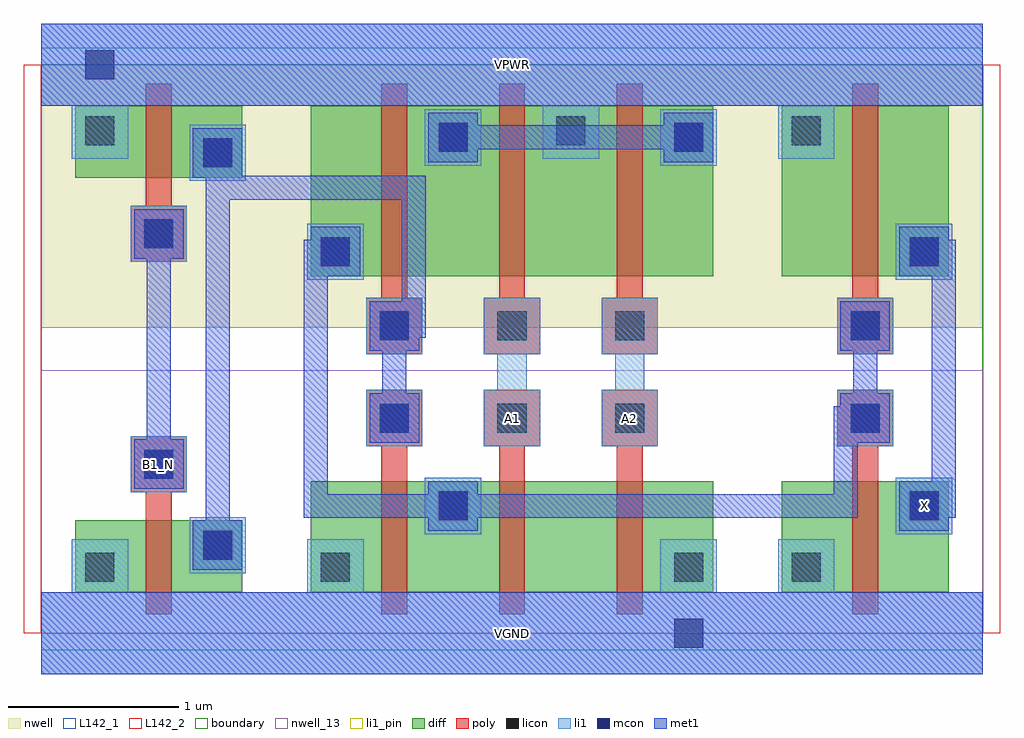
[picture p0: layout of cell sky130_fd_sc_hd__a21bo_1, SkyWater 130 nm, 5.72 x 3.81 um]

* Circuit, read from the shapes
.subckt sky130_fd_sc_hd__a21bo_1 A1 A2 B1_N VGND VPWR X
XM1 n1 B1_N VGND VSUBS sky130_fd_pr__nfet_01v8 w=0.42 l=0.15
XM2 n2 n1 VGND VSUBS sky130_fd_pr__nfet_01v8 w=0.65 l=0.15
XM3 n3 A1 n2 VSUBS sky130_fd_pr__nfet_01v8 w=0.65 l=0.15
XM4 VGND A2 n3 VSUBS sky130_fd_pr__nfet_01v8 w=0.65 l=0.15
XM5 X n2 VGND VSUBS sky130_fd_pr__nfet_01v8 w=0.65 l=0.15
XM6 n1 B1_N VPWR n4 sky130_fd_pr__pfet_01v8 w=0.42 l=0.15
XM7 n5 n1 n2 n4 sky130_fd_pr__pfet_01v8 w=1 l=0.15
XM8 VPWR A1 n5 n4 sky130_fd_pr__pfet_01v8 w=1 l=0.15
XM9 n5 A2 VPWR n4 sky130_fd_pr__pfet_01v8 w=1 l=0.15
XM10 X n2 VPWR n4 sky130_fd_pr__pfet_01v8 w=1 l=0.15
.ends

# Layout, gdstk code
import gdstk
lib = gdstk.Library(unit=1e-6, precision=1e-09)
def R(c, l, rs):  # rectangles x0, y0, x1, y1
    for r in rs: c.add(gdstk.rectangle(r[:2], r[2:], *l))
def A(c, l, x, y, w, h, nx, ny, dx, dy):  # array of equal rectangles
    R(c, l, [(x+i*dx, y+j*dy, x+i*dx+w, y+j*dy+h) for i in range(nx) for j in range(ny)])
def P(c, l, *ps):  # polygons
    for p in ps: c.add(gdstk.Polygon(p, *l))
nwell_13 = (64, 13)
nwell = (64, 20)
diff = (65, 20)
poly = (66, 20)
licon = (66, 44)
li1_pin = (67, 16)
li1 = (67, 20)
mcon = (67, 44)
met1 = (68, 20)
L142_1 = (142, 1)
L142_2 = (142, 2)
boundary = (235, 4)

sky130_fd_sc_hd__a21bo_1 = lib.new_cell('sky130_fd_sc_hd__a21bo_1')
R(sky130_fd_sc_hd__a21bo_1, nwell_13, [(0,0,5.52,1.54)])
R(sky130_fd_sc_hd__a21bo_1, nwell, [(0,1.79,5.52,3.33)])
R(sky130_fd_sc_hd__a21bo_1, diff, [(0.2,0.24,1.18,0.66), (0.2,0.24,0.615,0.66), (0.615,0.24,1.18,0.66), (1.58,0.24,3.94,0.89), (1.58,0.24,1.995,0.89), (1.995,0.24,2.685,0.89), (2.685,0.24,3.375,0.89), (3.375,0.24,3.94,0.89), (4.34,0.24,5.32,0.89), (4.34,0.24,4.755,0.89), (4.755,0.24,5.32,0.89), (1.58,2.09,3.94,3.09), (1.58,2.09,1.995,3.09), (1.995,2.09,2.685,3.09), (2.685,2.09,3.375,3.09), (3.375,2.09,3.94,3.09), (4.34,2.09,5.32,3.09), (4.34,2.09,4.755,3.09), (4.755,2.09,5.32,3.09), (0.2,2.67,1.18,3.09), (0.2,2.67,0.615,3.09), (0.615,2.67,1.18,3.09)])
P(sky130_fd_sc_hd__a21bo_1, poly, [(4.755,0.11),(4.755,1.095),(4.665,1.095),(4.665,1.425),(4.995,1.425),(4.995,1.095),(4.905,1.095),(4.905,0.11)],
  [(4.665,1.635),(4.665,1.965),(4.755,1.965),(4.755,3.22),(4.905,3.22),(4.905,1.965),(4.995,1.965),(4.995,1.635)],
  [(0.615,0.11),(0.615,0.825),(0.525,0.825),(0.525,1.155),(0.855,1.155),(0.855,0.825),(0.765,0.825),(0.765,0.11)],
  [(0.525,2.175),(0.525,2.505),(0.615,2.505),(0.615,3.22),(0.765,3.22),(0.765,2.505),(0.855,2.505),(0.855,2.175)],
  [(3.375,0.11),(3.375,1.095),(3.285,1.095),(3.285,1.425),(3.615,1.425),(3.615,1.095),(3.525,1.095),(3.525,0.11)],
  [(3.285,1.635),(3.285,1.965),(3.375,1.965),(3.375,3.22),(3.525,3.22),(3.525,1.965),(3.615,1.965),(3.615,1.635)],
  [(2.685,0.11),(2.685,1.095),(2.595,1.095),(2.595,1.425),(2.925,1.425),(2.925,1.095),(2.835,1.095),(2.835,0.11)],
  [(2.595,1.635),(2.595,1.965),(2.685,1.965),(2.685,3.22),(2.835,3.22),(2.835,1.965),(2.925,1.965),(2.925,1.635)],
  [(1.995,0.11),(1.995,1.095),(1.905,1.095),(1.905,1.425),(2.235,1.425),(2.235,1.095),(2.145,1.095),(2.145,0.11)],
  [(1.905,1.635),(1.905,1.965),(1.995,1.965),(1.995,3.22),(2.145,3.22),(2.145,1.965),(2.235,1.965),(2.235,1.635)])
A(sky130_fd_sc_hd__a21bo_1, licon, 1.985, 1.175, 0.17, 0.17, 3, 2, 0.69, 0.54)
R(sky130_fd_sc_hd__a21bo_1, licon, [(0.26,0.3,0.43,0.47), (1.64,0.3,1.81,0.47), (3.71,0.3,3.88,0.47), (4.4,0.3,4.57,0.47), (0.95,0.43,1.12,0.6), (2.33,0.66,2.5,0.83), (5.09,0.66,5.26,0.83), (0.605,0.905,0.775,1.075), (4.745,1.175,4.915,1.345), (4.745,1.715,4.915,1.885), (1.64,2.15,1.81,2.32), (5.09,2.15,5.26,2.32), (0.605,2.255,0.775,2.425), (0.95,2.73,1.12,2.9), (2.33,2.82,2.5,2.99), (3.71,2.82,3.88,2.99), (0.26,2.86,0.43,3.03), (3.02,2.86,3.19,3.03), (4.4,2.86,4.57,3.03)])
R(sky130_fd_sc_hd__a21bo_1, li1_pin, [(0,-0.24,5.52,0.24), (5.01,0.58,5.34,0.91), (0.525,0.825,0.855,1.155), (0,3.09,5.52,3.57)])
P(sky130_fd_sc_hd__a21bo_1, li1_pin, [(2.595,1.095),(2.595,1.425),(2.675,1.425),(2.675,1.635),(2.595,1.635),(2.595,1.965),(2.925,1.965),(2.925,1.635),(2.845,1.635),(2.845,1.425),(2.925,1.425),(2.925,1.095)],
  [(3.285,1.095),(3.285,1.425),(3.365,1.425),(3.365,1.635),(3.285,1.635),(3.285,1.965),(3.615,1.965),(3.615,1.635),(3.535,1.635),(3.535,1.425),(3.615,1.425),(3.615,1.095)])
R(sky130_fd_sc_hd__a21bo_1, li1, [(0.87,0.35,1.2,0.68), (2.25,0.58,2.58,0.91), (5.01,0.58,5.34,0.91), (0.525,0.825,0.855,1.155), (1.905,1.095,2.235,1.425), (4.665,1.095,4.995,1.425), (1.905,1.635,2.235,1.965), (4.665,1.635,4.995,1.965), (1.56,2.07,1.89,2.4), (5.01,2.07,5.34,2.4), (0.525,2.175,0.855,2.505), (0.87,2.65,1.2,2.98), (2.25,2.74,2.58,3.07), (3.63,2.74,3.96,3.07)])
P(sky130_fd_sc_hd__a21bo_1, li1, [(3.285,1.095),(3.285,1.425),(3.365,1.425),(3.365,1.635),(3.285,1.635),(3.285,1.965),(3.615,1.965),(3.615,1.635),(3.535,1.635),(3.535,1.425),(3.615,1.425),(3.615,1.095)],
  [(0.18,2.78),(0.18,3.09),(0,3.09),(0,3.57),(5.52,3.57),(5.52,3.09),(4.65,3.09),(4.65,2.78),(4.32,2.78),(4.32,3.09),(3.27,3.09),(3.27,2.78),(2.94,2.78),(2.94,3.09),(0.51,3.09),(0.51,2.78)],
  [(2.595,1.095),(2.595,1.425),(2.675,1.425),(2.675,1.635),(2.595,1.635),(2.595,1.965),(2.925,1.965),(2.925,1.635),(2.845,1.635),(2.845,1.425),(2.925,1.425),(2.925,1.095)],
  [(0,-0.24),(0,0.24),(0.18,0.24),(0.18,0.55),(0.51,0.55),(0.51,0.24),(1.56,0.24),(1.56,0.55),(1.89,0.55),(1.89,0.24),(3.63,0.24),(3.63,0.55),(3.96,0.55),(3.96,0.24),(4.32,0.24),(4.32,0.55),(4.65,0.55),(4.65,0.24),(5.52,0.24),(5.52,-0.24)])
R(sky130_fd_sc_hd__a21bo_1, mcon, [(3.71,-0.085,3.88,0.085), (0.95,0.43,1.12,0.6), (2.33,0.66,2.5,0.83), (5.09,0.66,5.26,0.83), (0.605,0.905,0.775,1.075), (1.985,1.175,2.155,1.345), (4.745,1.175,4.915,1.345), (1.985,1.715,2.155,1.885), (4.745,1.715,4.915,1.885), (1.64,2.15,1.81,2.32), (5.09,2.15,5.26,2.32), (0.605,2.255,0.775,2.425), (0.95,2.73,1.12,2.9), (2.33,2.82,2.5,2.99), (3.71,2.82,3.88,2.99), (0.26,3.245,0.43,3.415)])
R(sky130_fd_sc_hd__a21bo_1, met1, [(0,-0.24,5.52,0.24), (0,3.09,5.52,3.57)])
P(sky130_fd_sc_hd__a21bo_1, met1, [(2.27,0.6),(2.27,0.675),(1.54,0.675),(1.54,2.305),(1.58,2.305),(1.58,2.38),(1.87,2.38),(1.87,2.09),(1.68,2.09),(1.68,0.815),(2.27,0.815),(2.27,0.89),(2.56,0.89),(2.56,0.815),(4.645,0.815),(4.645,1.33),(4.685,1.33),(4.685,1.405),(4.76,1.405),(4.76,1.655),(4.685,1.655),(4.685,1.945),(4.975,1.945),(4.975,1.655),(4.9,1.655),(4.9,1.405),(4.975,1.405),(4.975,1.115),(4.785,1.115),(4.785,0.675),(2.56,0.675),(2.56,0.6)],
  [(0.545,0.845),(0.545,1.135),(0.62,1.135),(0.62,2.195),(0.545,2.195),(0.545,2.485),(0.835,2.485),(0.835,2.195),(0.76,2.195),(0.76,1.135),(0.835,1.135),(0.835,0.845)],
  [(2.27,2.76),(2.27,3.05),(2.56,3.05),(2.56,2.975),(3.65,2.975),(3.65,3.05),(3.94,3.05),(3.94,2.76),(3.65,2.76),(3.65,2.835),(2.56,2.835),(2.56,2.76)],
  [(0.89,0.37),(0.89,0.66),(0.965,0.66),(0.965,2.67),(0.89,2.67),(0.89,2.96),(1.18,2.96),(1.18,2.68),(2.255,2.68),(2.255,1.73),(2.215,1.73),(2.215,1.655),(2.14,1.655),(2.14,1.405),(2.215,1.405),(2.215,1.115),(1.925,1.115),(1.925,1.405),(2,1.405),(2,1.655),(1.925,1.655),(1.925,1.945),(2.115,1.945),(2.115,2.54),(1.105,2.54),(1.105,0.66),(1.18,0.66),(1.18,0.37)],
  [(5.03,0.6),(5.03,0.89),(5.22,0.89),(5.22,2.09),(5.03,2.09),(5.03,2.38),(5.32,2.38),(5.32,2.305),(5.36,2.305),(5.36,0.675),(5.32,0.675),(5.32,0.6)])
R(sky130_fd_sc_hd__a21bo_1, L142_1, [(0,-0.1,5.52,0), (0,3.33,5.52,3.43)])
R(sky130_fd_sc_hd__a21bo_1, L142_2, [(-0.1,0,0,3.33), (5.52,0,5.62,3.33)])
R(sky130_fd_sc_hd__a21bo_1, boundary, [(0,0,5.52,3.33)])
sky130_fd_sc_hd__a21bo_1.add(gdstk.Label('X', (5.175,0.745), layer=67, texttype=5))
sky130_fd_sc_hd__a21bo_1.add(gdstk.Label('B1_N', (0.69,0.99), layer=67, texttype=5))
sky130_fd_sc_hd__a21bo_1.add(gdstk.Label('A1', (2.76,1.26), layer=67, texttype=5))
sky130_fd_sc_hd__a21bo_1.add(gdstk.Label('A2', (3.45,1.26), layer=67, texttype=5))
sky130_fd_sc_hd__a21bo_1.add(gdstk.Label('VGND', (2.76,0), layer=67, texttype=5))
sky130_fd_sc_hd__a21bo_1.add(gdstk.Label('VPWR', (2.76,3.33), layer=67, texttype=5))
sky130_fd_sc_hd__a21bo_1.add(gdstk.Label('VGND', (2.76,0), layer=68, texttype=5))
sky130_fd_sc_hd__a21bo_1.add(gdstk.Label('VPWR', (2.76,3.33), layer=68, texttype=5))

lib.write_gds('sky130_fd_sc_hd__a21bo_1.gds')
